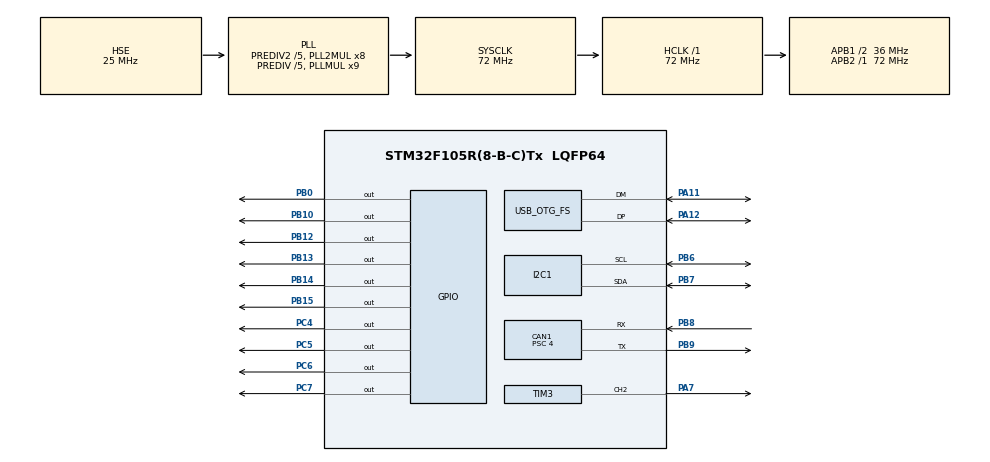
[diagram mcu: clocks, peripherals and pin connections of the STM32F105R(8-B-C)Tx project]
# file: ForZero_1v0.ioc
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CAN1.ABOM=ENABLE
CAN1.BS1=CAN_BS1_14TQ
CAN1.BS2=CAN_BS2_3TQ
CAN1.CalculateBaudRate=500000
CAN1.CalculateTimeBit=2000
CAN1.CalculateTimeQuantum=111.11111111111111
CAN1.NART=ENABLE
CAN1.Prescaler=4
Mcu.Family=STM32F1
Mcu.Name=STM32F105R(8-B-C)Tx
Mcu.Package=LQFP64
NVIC.OTG_FS_IRQn=true\:0\:0\:false\:false\:true\:true\:true\:true
NVIC.PriorityGroup=NVIC_PRIORITYGROUP_4
PA11.Mode=Device_Only
PA11.Signal=USB_OTG_FS_DM
PA12.Mode=Device_Only
PA12.Signal=USB_OTG_FS_DP
PA7.Signal=S_TIM3_CH2
PB0.Signal=GPIO_Output
PB10.Signal=GPIO_Output
PB12.Signal=GPIO_Output
PB13.Signal=GPIO_Output
PB14.Signal=GPIO_Output
PB15.Signal=GPIO_Output
PB6.Mode=I2C
PB6.Signal=I2C1_SCL
PB7.Mode=I2C
PB7.Signal=I2C1_SDA
PB8.Mode=CAN_Activate
PB8.Signal=CAN1_RX
PB9.Mode=CAN_Activate
PB9.Signal=CAN1_TX
PC4.Signal=GPIO_Output
PC5.Signal=GPIO_Output
PC6.Signal=GPIO_Output
PC7.Signal=GPIO_Output
PD0-OSC_IN.Mode=HSE-External-Oscillator
PD0-OSC_IN.Signal=RCC_OSC_IN
PD1-OSC_OUT.Mode=HSE-External-Oscillator
PD1-OSC_OUT.Signal=RCC_OSC_OUT
ProjectManager.HeapSize=0x200
ProjectManager.StackSize=0x400
ProjectManager.TargetToolchain=STM32CubeIDE
RCC.AHBFreq_Value=72000000
RCC.APB1CLKDivider=RCC_HCLK_DIV2
RCC.APB1Freq_Value=36000000
RCC.APB1TimFreq_Value=72000000
RCC.APB2Freq_Value=72000000
RCC.APB2TimFreq_Value=72000000
RCC.HCLKFreq_Value=72000000
RCC.HSEDivPLL=RCC_HSE_PREDIV_DIV5
RCC.HSE_VALUE=25000000
RCC.PLLMUL=RCC_PLL_MUL9
RCC.Prediv1Source=RCC_PREDIV1_SOURCE_PLL2
RCC.Prediv2=RCC_HSE_PREDIV2_DIV5
RCC.SYSCLKFreq_VALUE=72000000
RCC.SYSCLKSource=RCC_SYSCLKSOURCE_PLLCLK
RCC.USBFreq_Value=48000000
SH.S_TIM3_CH2.0=TIM3_CH2,PWM Generation2 CH2
TIM3.Channel-PWM\ Generation2\ CH2=TIM_CHANNEL_2
TIM3.Period=999
TIM3.Prescaler=719
TIM3.Pulse-PWM\ Generation2\ CH2=500
USB_DEVICE.CLASS_NAME_FS=CDC
USB_DEVICE.VirtualMode=Cdc
USB_DEVICE.VirtualModeFS=Cdc_FS
USB_OTG_FS.VirtualMode=Device_Only
VP_SYS_VS_ND.Mode=No_Debug
VP_TIM3_VS_ClockSourceINT.Mode=Internal
VP_USB_DEVICE_VS_USB_DEVICE_CDC_FS.Mode=CDC_FS
board=custom

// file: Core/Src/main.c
/* USER CODE BEGIN Header */
/**
  ******************************************************************************
  * @file           : main.c
  * @brief          : Main program body
  ******************************************************************************
  * @attention
  *
  * Copyright (c) 2026 STMicroelectronics.
  * All rights reserved.
  *
  * This software is licensed under terms that can be found in the LICENSE file
  * in the root directory of this software component.
  * If no LICENSE file comes with this software, it is provided AS-IS.
  *
  ******************************************************************************
  */
/* USER CODE END Header */
#include "main.h"
#include "usb_device.h"

/* USER CODE BEGIN Includes */
#include <stdbool.h>
#include "usbd_cdc_if.h"
#include "CAN_motor.h"
#include "speed.h"
#include "mcp4661.h"
#include "tell_tales.h"
#include "fuel_and_temp.h"
#include "cluster.h"
/* USER CODE END Includes */

CAN_HandleTypeDef hcan1;

I2C_HandleTypeDef hi2c1;

TIM_HandleTypeDef htim3;

void SystemClock_Config(void);
static void MX_GPIO_Init(void);
static void MX_CAN1_Init(void);
static void MX_TIM3_Init(void);
static void MX_I2C1_Init(void);

int main(void)
{

  /* USER CODE BEGIN 1 */
  Cluster local_cluster = {0};
  uint32_t last_send_time_20ms = 0;
  uint32_t last_send_time_2000ms = 0;
  uint32_t last_send_time_5000ms = 0;
  /* USER CODE END 1 */

  /* MCU Configuration--------------------------------------------------------*/

  /* Reset of all peripherals, Initializes the Flash interface and the Systick. */
  HAL_Init();

  /* Configure the system clock */
  SystemClock_Config();

  /* Initialize all configured peripherals */
  MX_GPIO_Init();
  MX_CAN1_Init();
  MX_TIM3_Init();
  MX_I2C1_Init();
  MX_USB_DEVICE_Init();
  /* USER CODE BEGIN 2 */
  Speed_Init();

  // Uruchomienie magistrali CAN
  if (HAL_CAN_Start(&hcan1) != HAL_OK){
     Error_Handler();
  }

  // Kontrolki
  TellTales_Init();
 // Pin_Write(&LED_WARNING, GPIO_PIN_SET);

  start_cluster_test();
  /* USER CODE END 2 */

  /* Infinite loop */
  /* USER CODE BEGIN WHILE */
  static uint16_t last_send_speed = 0xFFFF; // Wymuszenie wysłania pierwszy raz Send_Speed()
  static uint8_t last_send_indicators = 0xFF;
  bool is_new_fuel_data = false;
  static bool frame_processed = true;
  static uint8_t curent_frame_number = 0x00;

  while (1)
  {
    /* USER CODE END WHILE */

    /* USER CODE BEGIN 3 */
	  process_cluster_test();

	  // Odbiór telemetri z USB i tworzenie lokalnej kopii
	  if(is_new_usb_packet == true){ // volatile
		  // 1. Kopiowanie najnowszych dostępnych danych (sekcja krytyczna)
		  __disable_irq();
		  local_cluster = g_cluster;
		  is_new_usb_packet = false;
		  is_new_fuel_data = true;

		  // Informajce dla ACK EXEC
		  frame_processed = false;
		  curent_frame_number = local_cluster.last_pkt_num;
		  __enable_irq();

	  }

	  if(!is_cluster_test_active()){

		  // Wysyłanie prędkości i stanu kontrolek w sposob ciągły
		  if(local_cluster.speed != last_send_speed){
			  Send_Speed(local_cluster.speed);
			  last_send_speed = local_cluster.speed;
		  }

		  if(local_cluster.indicators != last_send_indicators){
			  Send_TellTales(&local_cluster.indicators);
			  last_send_indicators = local_cluster.indicators;
		  }

		  // Wysyłanie RPM co 20ms
		  if (HAL_GetTick() - last_send_time_20ms >= 20){
				  last_send_time_20ms = HAL_GetTick();

				  Send_RPM(local_cluster.rpm);
		  }

		  // Wysyłanie Poziomu paliwa co 5 sekund
		  if(HAL_GetTick() - last_send_time_5000ms >= 5000 && is_new_fuel_data == true){
			  last_send_time_5000ms = HAL_GetTick();

				  Send_Fuel_lvl(local_cluster.fuel_level);
				  is_new_fuel_data = false;
		  }

		  // Wysyłanie temperatury silnika co 2 sekundy
		  if(HAL_GetTick() - last_send_time_2000ms >= 2000){
			  last_send_time_2000ms = HAL_GetTick();

				  Send_Engine_Temperature(local_cluster.engine_temp);
		  }

	  }

	  // Timeout USB
	  if (rx_idx > 0 && (HAL_GetTick() - last_time_usb_rx >= 50)) {
		  __disable_irq();
	      rx_idx = 0; // Odrzucamy niekompletną paczkę
	      __enable_irq();
	  }

	  // Timeout USB - Wygaszenie zegarów
	  if (HAL_GetTick() - last_time_usb_rx >= 500) {
		  __disable_irq();
		  rx_idx = 0; // Odrzucamy niekompletną paczkę
		  local_cluster.speed = 0;
		  local_cluster.rpm = 0;
		  local_cluster.engine_temp = 0;
		  local_cluster.indicators = 0x10;
		  __enable_irq();
	  }

	  // Wysłanie ACK EXEC
	  if(frame_processed == false){
		  if(CDC_Transmit_FS(&curent_frame_number,1) == HAL_OK){
			  frame_processed = true;
		  }
	  }

  }
  /* USER CODE END 3 */
}

void SystemClock_Config(void)
{
  RCC_OscInitTypeDef RCC_OscInitStruct = {0};
  RCC_ClkInitTypeDef RCC_ClkInitStruct = {0};
  RCC_PeriphCLKInitTypeDef PeriphClkInit = {0};

  /** Initializes the RCC Oscillators according to the specified parameters
  * in the RCC_OscInitTypeDef structure.
  */
  RCC_OscInitStruct.OscillatorType = RCC_OSCILLATORTYPE_HSE;
  RCC_OscInitStruct.HSEState = RCC_HSE_ON;
  RCC_OscInitStruct.HSEPredivValue = RCC_HSE_PREDIV_DIV5;
  RCC_OscInitStruct.HSIState = RCC_HSI_ON;
  RCC_OscInitStruct.Prediv1Source = RCC_PREDIV1_SOURCE_PLL2;
  RCC_OscInitStruct.PLL.PLLState = RCC_PLL_ON;
  RCC_OscInitStruct.PLL.PLLSource = RCC_PLLSOURCE_HSE;
  RCC_OscInitStruct.PLL.PLLMUL = RCC_PLL_MUL9;
  RCC_OscInitStruct.PLL2.PLL2State = RCC_PLL2_ON;
  RCC_OscInitStruct.PLL2.PLL2MUL = RCC_PLL2_MUL8;
  RCC_OscInitStruct.PLL2.HSEPrediv2Value = RCC_HSE_PREDIV2_DIV5;
  if (HAL_RCC_OscConfig(&RCC_OscInitStruct) != HAL_OK)
  {
    Error_Handler();
  }

  /** Initializes the CPU, AHB and APB buses clocks
  */
  RCC_ClkInitStruct.ClockType = RCC_CLOCKTYPE_HCLK|RCC_CLOCKTYPE_SYSCLK
                              |RCC_CLOCKTYPE_PCLK1|RCC_CLOCKTYPE_PCLK2;
  RCC_ClkInitStruct.SYSCLKSource = RCC_SYSCLKSOURCE_PLLCLK;
  RCC_ClkInitStruct.AHBCLKDivider = RCC_SYSCLK_DIV1;
  RCC_ClkInitStruct.APB1CLKDivider = RCC_HCLK_DIV2;
  RCC_ClkInitStruct.APB2CLKDivider = RCC_HCLK_DIV1;

  if (HAL_RCC_ClockConfig(&RCC_ClkInitStruct, FLASH_LATENCY_2) != HAL_OK)
  {
    Error_Handler();
  }
  PeriphClkInit.PeriphClockSelection = RCC_PERIPHCLK_USB;
  PeriphClkInit.UsbClockSelection = RCC_USBCLKSOURCE_PLL_DIV3;
  if (HAL_RCCEx_PeriphCLKConfig(&PeriphClkInit) != HAL_OK)
  {
    Error_Handler();
  }

  /** Configure the Systick interrupt time
  */
  __HAL_RCC_PLLI2S_ENABLE();
}

static void MX_CAN1_Init(void)
{

  hcan1.Instance = CAN1;
  hcan1.Init.Prescaler = 4;
  hcan1.Init.Mode = CAN_MODE_NORMAL;
  hcan1.Init.SyncJumpWidth = CAN_SJW_1TQ;
  hcan1.Init.TimeSeg1 = CAN_BS1_14TQ;
  hcan1.Init.TimeSeg2 = CAN_BS2_3TQ;
  hcan1.Init.TimeTriggeredMode = DISABLE;
  hcan1.Init.AutoBusOff = ENABLE;
  hcan1.Init.AutoWakeUp = DISABLE;
  hcan1.Init.AutoRetransmission = ENABLE;
  hcan1.Init.ReceiveFifoLocked = DISABLE;
  hcan1.Init.TransmitFifoPriority = DISABLE;
  if (HAL_CAN_Init(&hcan1) != HAL_OK)
  {
    Error_Handler();
  }

}

static void MX_I2C1_Init(void)
{

  hi2c1.Instance = I2C1;
  hi2c1.Init.ClockSpeed = 100000;
  hi2c1.Init.DutyCycle = I2C_DUTYCYCLE_2;
  hi2c1.Init.OwnAddress1 = 0;
  hi2c1.Init.AddressingMode = I2C_ADDRESSINGMODE_7BIT;
  hi2c1.Init.DualAddressMode = I2C_DUALADDRESS_DISABLE;
  hi2c1.Init.OwnAddress2 = 0;
  hi2c1.Init.GeneralCallMode = I2C_GENERALCALL_DISABLE;
  hi2c1.Init.NoStretchMode = I2C_NOSTRETCH_DISABLE;
  if (HAL_I2C_Init(&hi2c1) != HAL_OK)
  {
    Error_Handler();
  }

}

static void MX_TIM3_Init(void)
{

  TIM_ClockConfigTypeDef sClockSourceConfig = {0};
  TIM_MasterConfigTypeDef sMasterConfig = {0};
  TIM_OC_InitTypeDef sConfigOC = {0};

  htim3.Instance = TIM3;
  htim3.Init.Prescaler = 719;
  htim3.Init.CounterMode = TIM_COUNTERMODE_UP;
  htim3.Init.Period = 999;
  htim3.Init.ClockDivision = TIM_CLOCKDIVISION_DIV1;
  htim3.Init.AutoReloadPreload = TIM_AUTORELOAD_PRELOAD_DISABLE;
  if (HAL_TIM_Base_Init(&htim3) != HAL_OK)
  {
    Error_Handler();
  }
  sClockSourceConfig.ClockSource = TIM_CLOCKSOURCE_INTERNAL;
  if (HAL_TIM_ConfigClockSource(&htim3, &sClockSourceConfig) != HAL_OK)
  {
    Error_Handler();
  }
  if (HAL_TIM_PWM_Init(&htim3) != HAL_OK)
  {
    Error_Handler();
  }
  sMasterConfig.MasterOutputTrigger = TIM_TRGO_RESET;
  sMasterConfig.MasterSlaveMode = TIM_MASTERSLAVEMODE_DISABLE;
  if (HAL_TIMEx_MasterConfigSynchronization(&htim3, &sMasterConfig) != HAL_OK)
  {
    Error_Handler();
  }
  sConfigOC.OCMode = TIM_OCMODE_PWM1;
  sConfigOC.Pulse = 500;
  sConfigOC.OCPolarity = TIM_OCPOLARITY_HIGH;
  sConfigOC.OCFastMode = TIM_OCFAST_DISABLE;
  if (HAL_TIM_PWM_ConfigChannel(&htim3, &sConfigOC, TIM_CHANNEL_2) != HAL_OK)
  {
    Error_Handler();
  }
  HAL_TIM_MspPostInit(&htim3);

}

static void MX_GPIO_Init(void)
{
  GPIO_InitTypeDef GPIO_InitStruct = {0};

  /* GPIO Ports Clock Enable */
  __HAL_RCC_GPIOD_CLK_ENABLE();
  __HAL_RCC_GPIOA_CLK_ENABLE();
  __HAL_RCC_GPIOC_CLK_ENABLE();
  __HAL_RCC_GPIOB_CLK_ENABLE();

  /*Configure GPIO pin Output Level */
  HAL_GPIO_WritePin(GPIOC, GPIO_PIN_4|GPIO_PIN_5|GPIO_PIN_6|GPIO_PIN_7, GPIO_PIN_RESET);

  /*Configure GPIO pin Output Level */
  HAL_GPIO_WritePin(GPIOB, GPIO_PIN_0|GPIO_PIN_10|GPIO_PIN_12|GPIO_PIN_13
                          |GPIO_PIN_14|GPIO_PIN_15, GPIO_PIN_RESET);

  /*Configure GPIO pins : PC4 PC5 PC6 PC7 */
  GPIO_InitStruct.Pin = GPIO_PIN_4|GPIO_PIN_5|GPIO_PIN_6|GPIO_PIN_7;
  GPIO_InitStruct.Mode = GPIO_MODE_OUTPUT_PP;
  GPIO_InitStruct.Pull = GPIO_NOPULL;
  GPIO_InitStruct.Speed = GPIO_SPEED_FREQ_LOW;
  HAL_GPIO_Init(GPIOC, &GPIO_InitStruct);

  /*Configure GPIO pins : PB0 PB10 PB12 PB13
                           PB14 PB15 */
  GPIO_InitStruct.Pin = GPIO_PIN_0|GPIO_PIN_10|GPIO_PIN_12|GPIO_PIN_13
                          |GPIO_PIN_14|GPIO_PIN_15;
  GPIO_InitStruct.Mode = GPIO_MODE_OUTPUT_PP;
  GPIO_InitStruct.Pull = GPIO_NOPULL;
  GPIO_InitStruct.Speed = GPIO_SPEED_FREQ_LOW;
  HAL_GPIO_Init(GPIOB, &GPIO_InitStruct);

}

void Error_Handler(void)
{
  __disable_irq();
  while (1)
  {
  }
}
